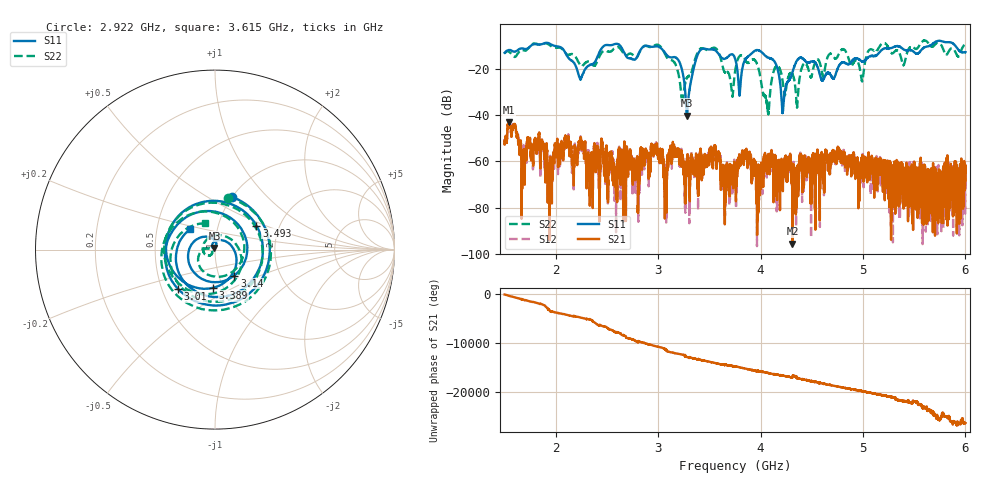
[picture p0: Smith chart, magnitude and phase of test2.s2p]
!Keysight Technologies N9923A: A.08.15
!Date: Monday, 19 February 2024 16:30:08
!Timezone: (GMT-05:00) Eastern Time (US & Canada)
!Model: N9923A
!Serial: MY52412730
!GPS Latitude:
!GPS Longitude:
!GPS TimeStamp: 0001-01-01 00:00:00Z
!GPS Seconds Since Last Read: 0
!CHECKSUM:0931389618
!Correction: S11(ON Q)S21(ON Q)S12(ON Q)S22(ON Q)
!S2P File: Measurements:S11,S21,S12,S22:
# Hz S DB R 50
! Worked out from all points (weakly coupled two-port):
!   10001 points, 1.5 GHz to 6 GHz, reference 50 ohm
!   highest |S21| = -43.03 dB at 1.545 GHz (marker M1); lowest = -95.7 dB at 4.311 GHz (marker M2)
!   lowest |S11| = -40.1 dB at 3.281 GHz (marker M3), VSWR 1.02, Z = 49.7 + j0.921 ohm
!   |S11| at or under -10 dB: 1.992 GHz to 2.468 GHz (476.3 MHz wide, 21.4 % of centre); 2.9 GHz to 5.334 GHz (2.434 GHz wide, 59.1 % of centre); 5.334 GHz to 5.648 GHz (313.8 MHz wide, 5.71 % of centre) (the widest 3 of 7)
!   |S22| runs from -39.6 to -7.6 dB; largest |S21 - S12| = 0.0012
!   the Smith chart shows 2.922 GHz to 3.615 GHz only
!   S11 on the Smith chart (normalised r, x): 2.922 GHz: 1.00, +0.65; 3.01 GHz: 0.61, -0.29; 3.14 GHz: 1.18, -0.35; 3.389 GHz: 0.89, -0.40; 3.493 GHz: 1.52, +0.44; 3.615 GHz: 0.74, +0.18
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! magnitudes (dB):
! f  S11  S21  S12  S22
! 1.5 GHz  -12.9  -52.6  -51.1  -13.2
! 1.545 GHz  -11.7  -43.0  -42.7  -12.6
! 1.942 GHz  -9.1  -63.6  -60.8  -9.7
! 2.25 GHz  -23.6  -53.7  -54.4  -18.7
! 2.582 GHz  -9.1  -68.2  -64.8  -10.6
! 2.922 GHz  -10.2  -60.3  -61.0  -10.5
! 3 GHz  -10.3  -58.1  -59.0  -9.5
! 3.01 GHz  -10.4  -57.8  -58.5  -9.7
! 3.14 GHz  -14.9  -54.5  -55.1  -16.3
! 3.281 GHz  -40.1  -58.8  -63.4  -23.7
! 3.389 GHz  -13.4  -72.5  -67.5  -12.5
! 3.493 GHz  -11.5  -58.4  -57.7  -11.8
! 3.615 GHz  -14.9  -65.5  -68.6  -16.1
! 3.75 GHz  -15.4  -63.5  -60.5  -21.2
! 3.942 GHz  -12.1  -61.3  -61.7  -16.1
! 4.067 GHz  -14.9  -60.8  -62.1  -36.5
! 4.118 GHz  -15.8  -59.9  -57.8  -22.6
! 4.219 GHz  -38.0  -65.0  -64.0  -26.3
! 4.311 GHz  -21.4  -95.7  -74.2  -22.1
! 4.5 GHz  -16.6  -68.2  -66.1  -22.7
! 5.25 GHz  -11.0  -61.2  -64.5  -11.0
! 6 GHz  -12.6  -63.1  -70.1  -9.1
